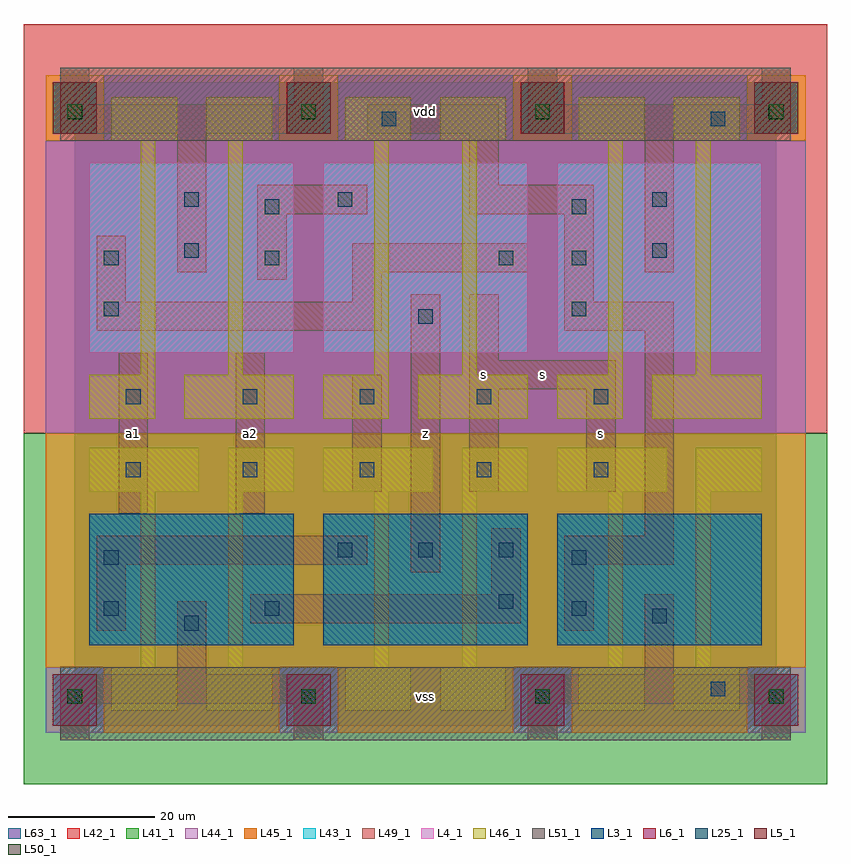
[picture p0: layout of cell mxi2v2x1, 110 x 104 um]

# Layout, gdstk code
import gdstk
lib = gdstk.Library(unit=1e-6, precision=1e-09)
def R(c, l, rs):  # rectangles x0, y0, x1, y1
    for r in rs: c.add(gdstk.rectangle(r[:2], r[2:], *l))
def A(c, l, x, y, w, h, nx, ny, dx, dy):  # array of equal rectangles
    R(c, l, [(x+i*dx, y+j*dy, x+i*dx+w, y+j*dy+h) for i in range(nx) for j in range(ny)])
L3_1 = (3, 1)
L4_1 = (4, 1)
L5_1 = (5, 1)
L6_1 = (6, 1)
L25_1 = (25, 1)
L41_1 = (41, 1)
L42_1 = (42, 1)
L43_1 = (43, 1)
L44_1 = (44, 1)
L45_1 = (45, 1)
L46_1 = (46, 1)
L49_1 = (49, 1)
L50_1 = (50, 1)
L51_1 = (51, 1)
L63_1 = (63, 1)

mxi2v2x1 = lib.new_cell('mxi2v2x1')
A(mxi2v2x1, L3_1, 2, 11, 28, 18, 3, 1, 32, 0)
A(mxi2v2x1, L4_1, 2, 51, 28, 26, 3, 1, 32, 0)
A(mxi2v2x1, L5_1, -3, 81, 6, 7, 4, 1, 32, 0)
R(mxi2v2x1, L6_1, [(-3,0,3,7), (-3,0,3,7), (29,0,35,7), (29,0,35,7), (61,0,67,7), (61,0,67,7), (93,0,99,7), (93,0,99,7)])
A(mxi2v2x1, L25_1, -1, 3, 2, 2, 4, 2, 32, 80)
A(mxi2v2x1, L25_1, 36, 23, 2, 2, 3, 1, 11, 0)
A(mxi2v2x1, L25_1, 7, 34, 2, 2, 5, 2, 16, 10)
A(mxi2v2x1, L25_1, 68, 56, 2, 2, 1, 3, 0, 7)
R(mxi2v2x1, L25_1, [(87,4,89,6), (15,13,17,15), (79,14,81,16), (4,15,6,17), (26,15,28,17), (68,15,70,17), (58,16,60,18), (4,22,6,24), (68,22,70,24), (47,55,49,57), (4,56,6,58), (4,63,6,65), (26,63,28,65), (58,63,60,65), (15,64,17,66), (79,64,81,66), (26,70,28,72), (15,71,17,73), (36,71,38,73), (79,71,81,73), (42,82,44,84), (87,82,89,84)])
R(mxi2v2x1, L41_1, [(-7,-8,103,40)])
R(mxi2v2x1, L42_1, [(-7,40,103,96)])
A(mxi2v2x1, L43_1, -3, 0, 6, 7, 4, 2, 32, 81)
A(mxi2v2x1, L43_1, 2, 11, 28, 18, 3, 1, 32, 0)
A(mxi2v2x1, L43_1, 2, 51, 28, 26, 3, 1, 32, 0)
A(mxi2v2x1, L44_1, -4, -1, 8, 9, 4, 1, 32, 0)
A(mxi2v2x1, L44_1, 4, 80, 24, 9, 3, 1, 32, 0)
R(mxi2v2x1, L44_1, [(-4,40,100,80)])
A(mxi2v2x1, L45_1, 4, -1, 24, 9, 3, 1, 32, 0)
A(mxi2v2x1, L45_1, -4, 80, 8, 9, 4, 1, 32, 0)
R(mxi2v2x1, L45_1, [(-4,8,100,40)])
A(mxi2v2x1, L46_1, 2, 32, 15, 6, 3, 1, 32, 0)
A(mxi2v2x1, L46_1, 21, 32, 9, 6, 3, 1, 32, 0)
A(mxi2v2x1, L46_1, 2, 42, 9, 6, 3, 1, 32, 0)
A(mxi2v2x1, L46_1, 15, 42, 15, 6, 3, 1, 32, 0)
R(mxi2v2x1, L46_1, [(5,2,14,8), (18,2,27,8), (37,2,46,8), (50,2,59,8), (69,2,78,8), (82,2,91,8), (9,8,11,32), (21,8,23,32), (41,8,43,32), (53,8,55,32), (73,8,75,32), (85,8,87,32), (9,48,11,80), (21,48,23,80), (41,48,43,80), (53,48,55,80), (73,48,75,80), (85,48,87,80), (5,80,14,86), (18,80,27,86), (37,80,46,86), (50,80,59,86), (69,80,78,86), (82,80,91,86)])
A(mxi2v2x1, L49_1, -2, -2, 4, 5, 4, 2, 32, 87)
R(mxi2v2x1, L49_1, [(-2,3,34,7), (62,3,98,7), (14,7,18,17), (78,7,82,18), (3,13,7,22), (67,13,71,22), (24,14,61,18), (57,18,61,27), (46,21,50,59), (3,22,40,26), (67,22,82,26), (78,26,82,54), (6,29,10,51), (22,29,26,51), (38,32,42,48), (54,32,58,46), (70,32,74,46), (54,46,74,50), (54,50,58,59), (3,54,42,58), (67,54,82,58), (3,58,7,67), (38,58,42,62), (67,58,71,70), (25,61,29,70), (14,62,18,81), (38,62,62,66), (78,62,82,81), (25,70,40,74), (54,70,71,74), (54,74,58,81), (-2,81,34,85), (40,81,58,85), (62,81,98,85)])
A(mxi2v2x1, L50_1, -1, 3, 2, 2, 4, 2, 32, 80)
R(mxi2v2x1, L51_1, [(-2,-2,98,8), (-2,80,98,90)])
R(mxi2v2x1, L63_1, [(0,0,96,88)])
mxi2v2x1.add(gdstk.Label('a1', (8,40), layer=49, texttype=1))
mxi2v2x1.add(gdstk.Label('a2', (24,40), layer=49, texttype=1))
mxi2v2x1.add(gdstk.Label('z', (48,40), layer=49, texttype=1))
mxi2v2x1.add(gdstk.Label('s', (56,48), layer=49, texttype=1))
mxi2v2x1.add(gdstk.Label('s', (72,40), layer=49, texttype=1))
mxi2v2x1.add(gdstk.Label('s', (64,48), layer=49, texttype=1))
mxi2v2x1.add(gdstk.Label('vss', (48,4), layer=51, texttype=1))
mxi2v2x1.add(gdstk.Label('vdd', (48,84), layer=51, texttype=1))

lib.write_gds('mxi2v2x1.gds')
